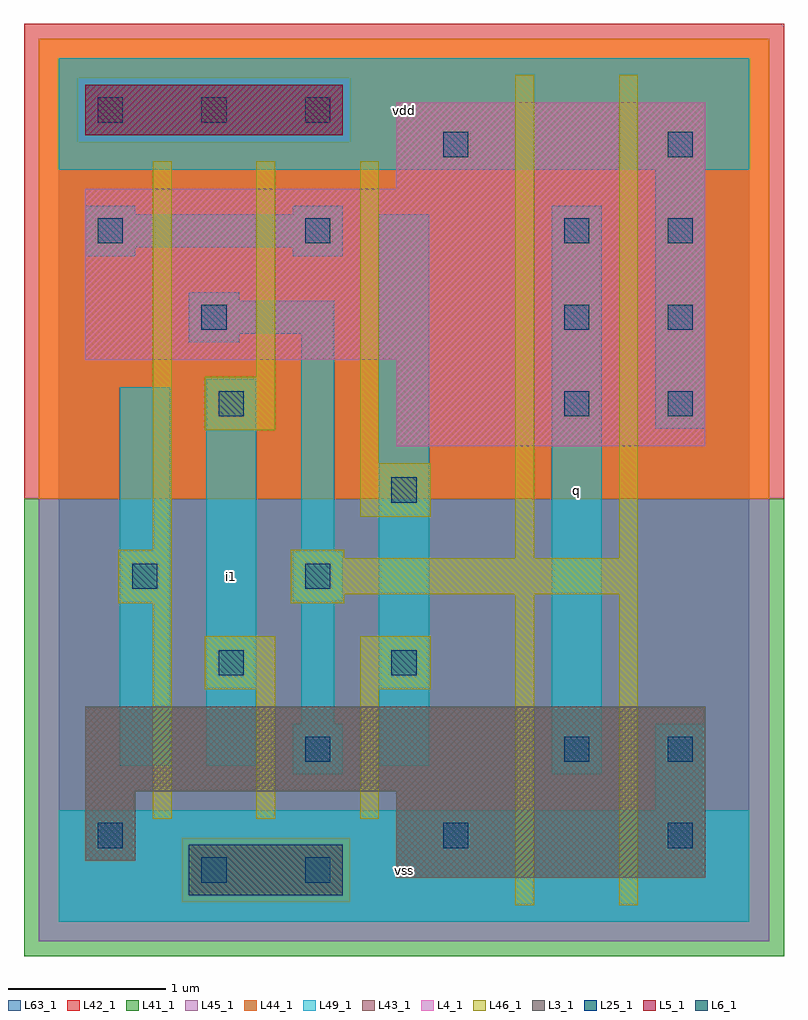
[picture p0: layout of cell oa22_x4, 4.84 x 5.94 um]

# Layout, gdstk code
import gdstk
lib = gdstk.Library(unit=1e-6, precision=1e-09)
def R(c, l, rs):  # rectangles x0, y0, x1, y1
    for r in rs: c.add(gdstk.rectangle(r[:2], r[2:], *l))
def A(c, l, x, y, w, h, nx, ny, dx, dy):  # array of equal rectangles
    R(c, l, [(x+i*dx, y+j*dy, x+i*dx+w, y+j*dy+h) for i in range(nx) for j in range(ny)])
L3_1 = (3, 1)
L4_1 = (4, 1)
L5_1 = (5, 1)
L6_1 = (6, 1)
L25_1 = (25, 1)
L41_1 = (41, 1)
L42_1 = (42, 1)
L43_1 = (43, 1)
L44_1 = (44, 1)
L45_1 = (45, 1)
L46_1 = (46, 1)
L49_1 = (49, 1)
L63_1 = (63, 1)

oa22_x4 = lib.new_cell('oa22_x4')
R(oa22_x4, L3_1, [(2.15,0.28,4.12,0.83), (0.17,0.39,0.49,0.83), (0.17,0.83,4.12,1.37)])
R(oa22_x4, L4_1, [(2.15,3.03,4.12,3.58), (0.17,3.58,4.12,4.67), (2.15,4.67,4.12,5.22)])
R(oa22_x4, L5_1, [(0.17,5.01,1.81,5.33)])
R(oa22_x4, L6_1, [(0.83,0.17,1.81,0.49)])
A(oa22_x4, L25_1, 3.22, 3.22, 0.16, 0.16, 1, 3, 0, 0.55)
A(oa22_x4, L25_1, 3.88, 3.22, 0.16, 0.16, 1, 4, 0, 0.55)
A(oa22_x4, L25_1, 0.25, 5.09, 0.16, 0.16, 3, 1, 0.66, 0)
R(oa22_x4, L25_1, [(0.91,0.25,1.07,0.41), (1.57,0.25,1.73,0.41), (0.25,0.47,0.41,0.63), (2.45,0.47,2.61,0.63), (3.88,0.47,4.04,0.63), (1.57,1.02,1.73,1.18), (3.22,1.02,3.38,1.18), (3.88,1.02,4.04,1.18), (1.02,1.57,1.18,1.73), (2.12,1.57,2.28,1.73), (0.47,2.12,0.63,2.28), (1.57,2.12,1.73,2.28), (2.12,2.67,2.28,2.83), (1.02,3.22,1.18,3.38), (0.91,3.77,1.07,3.93), (0.25,4.32,0.41,4.48), (1.57,4.32,1.73,4.48), (2.45,4.87,2.61,5.03)])
R(oa22_x4, L41_1, [(-0.22,-0.22,4.62,2.695)])
R(oa22_x4, L42_1, [(-0.22,2.695,4.62,5.72)])
R(oa22_x4, L43_1, [(0.83,0.17,1.81,0.49), (2.15,0.28,4.12,0.83), (0.17,0.39,0.49,0.83), (0.17,0.83,4.12,1.37), (2.15,3.03,4.12,3.58), (0.17,3.58,4.12,4.67), (2.15,4.67,4.12,5.22), (0.17,5.01,1.81,5.33)])
R(oa22_x4, L44_1, [(0.785,0.125,1.855,0.535), (-0.125,2.695,4.525,4.965), (-0.125,4.965,0.125,5.375), (1.855,4.965,4.525,5.375), (-0.125,5.375,4.525,5.625)])
R(oa22_x4, L45_1, [(-0.125,-0.125,4.525,0.125), (-0.125,0.125,0.785,0.535), (1.855,0.125,4.525,0.535), (-0.125,0.535,4.525,2.695), (0.125,4.965,1.855,5.375)])
R(oa22_x4, L46_1, [(2.91,0.105,3.03,2.085), (3.57,0.105,3.69,2.085), (0.6,0.655,0.72,2.03), (1.26,0.655,1.38,1.48), (1.92,0.655,2.04,1.48), (0.93,1.48,1.38,1.82), (1.92,1.48,2.37,1.82), (0.38,2.03,0.72,2.37), (1.48,2.03,1.82,2.085), (1.48,2.085,3.69,2.315), (1.48,2.315,1.82,2.37), (2.91,2.315,3.03,5.395), (3.57,2.315,3.69,5.395), (0.6,2.37,0.72,4.845), (1.92,2.58,2.37,2.92), (1.92,2.92,2.04,4.845), (0.93,3.13,1.38,3.47), (1.26,3.47,1.38,4.845)])
R(oa22_x4, L49_1, [(0,0,4.4,0.71), (3.8,0.71,4.12,1.26), (1.49,0.94,1.81,1.26), (3.14,0.94,3.46,4.56), (0.39,0.995,0.71,3.405), (0.94,0.995,1.26,3.46), (2.04,0.995,2.36,4.505), (1.545,1.26,1.755,2.04), (1.49,2.04,1.81,2.36), (1.545,2.36,1.755,3.745), (3.8,3.14,4.12,4.79), (0.83,3.69,1.15,3.745), (0.83,3.745,1.755,3.955), (0.83,3.955,1.15,4.01), (0.17,4.24,0.49,4.295), (1.49,4.24,1.81,4.295), (0.17,4.295,1.81,4.505), (0.17,4.505,0.49,4.56), (1.49,4.505,1.81,4.56), (0,4.79,4.4,5.5)])
R(oa22_x4, L63_1, [(0,0,4.4,5.5)])
oa22_x4.add(gdstk.Label('i1', (1.1,2.2), layer=49, texttype=1))
oa22_x4.add(gdstk.Label('i1', (1.1,2.2), layer=49, texttype=1))
oa22_x4.add(gdstk.Label('vss', (2.2,0.33), layer=49, texttype=1))
oa22_x4.add(gdstk.Label('vss', (2.2,0.33), layer=49, texttype=1))
oa22_x4.add(gdstk.Label('q', (3.3,2.75), layer=49, texttype=1))
oa22_x4.add(gdstk.Label('q', (3.3,2.75), layer=49, texttype=1))
oa22_x4.add(gdstk.Label('vdd', (2.2,5.17), layer=49, texttype=1))
oa22_x4.add(gdstk.Label('vdd', (2.2,5.17), layer=49, texttype=1))

lib.write_gds('oa22_x4.gds')
